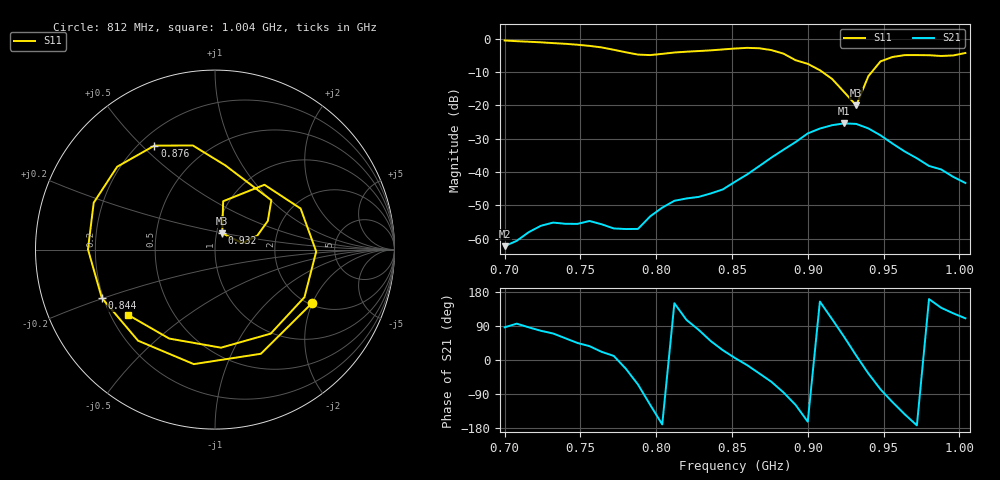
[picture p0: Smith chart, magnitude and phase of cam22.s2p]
# Hz S RI R 50
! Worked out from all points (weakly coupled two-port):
!   39 points, 700 MHz to 1.004 GHz, reference 50 ohm
!   highest |S21| = -25.44 dB at 924 MHz (marker M1); lowest = -62.2 dB at 700 MHz (marker M2)
!   lowest |S11| = -20.0 dB at 932 MHz (marker M3), VSWR 1.22, Z = 53.3 + j9.78 ohm
!   |S11| at or under -10 dB: 909.5 MHz to 942.3 MHz (32.76 MHz wide, 3.54 % of centre)
!   S12 and S22 are empty: the file has one direction only
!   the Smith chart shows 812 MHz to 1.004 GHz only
!   S11 on the Smith chart (normalised r, x): 812 MHz: 2.06, -1.99; 844 MHz: 0.19, -0.20; 876 MHz: 0.26, +0.55; 932 MHz: 1.07, +0.20; 1.004 GHz: 0.27, -0.31
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7e8  0.7705 0.5294  5.08e-05 0.000772  0 0  0 0
7.24e8  0.8358 -0.2637  0.000352 0.00153  0 0  0 0
7.4e8  0.4445 -0.7047  0.000901 0.00141  0 0  0 0
7.56e8  -0.1953 -0.7505  0.00148 0.0011  0 0  0 0
7.72e8  -0.6518 -0.1879  0.0014 0.000267  0 0  0 0
7.8e8  -0.5774 0.2299  0.00129 -0.00055  0 0  0 0
7.88e8  -0.2243 0.5286  0.000599 -0.00127  0 0  0 0
7.96e8  0.2583 0.5018  -0.00102 -0.00191  0 0  0 0
8.04e8  0.5702 0.1476  -0.00288 -0.000506  0 0  0 0
8.12e8  0.5405 -0.298  -0.0032 0.00187  0 0  0 0
8.28e8  -0.1183 -0.6381  0.000756 0.00417  0 0  0 0
8.44e8  -0.631 -0.2684  0.00494 0.00238  0 0  0 0
8.52e8  -0.7078 0.00164  0.00711 0.000647  0 0  0 0
8.76e8  -0.3378 0.5792  0.00883 -0.0139  0 0  0 0
9e8  0.3139 0.275  -0.0362 -0.0111  0 0  0 0
9.08e8  0.2943 0.1598  -0.0403 0.0195  0 0  0 0
9.24e8  0.1538 0.0356  0.0258 0.0468  0 0  0 0
9.32e8  0.0403 0.0909  0.0515 0.0104  0 0  0 0
9.4e8  0.0454 0.2693  0.0365 -0.0262  0 0  0 0
9.56e8  0.4771 0.2287  -0.00975 -0.0247  0 0  0 0
9.8e8  0.3103 -0.4682  -0.0116 0.00407  0 0  0 0
1.004e9  -0.4864 -0.3625  -0.00234 0.00643  0 0  0 0
